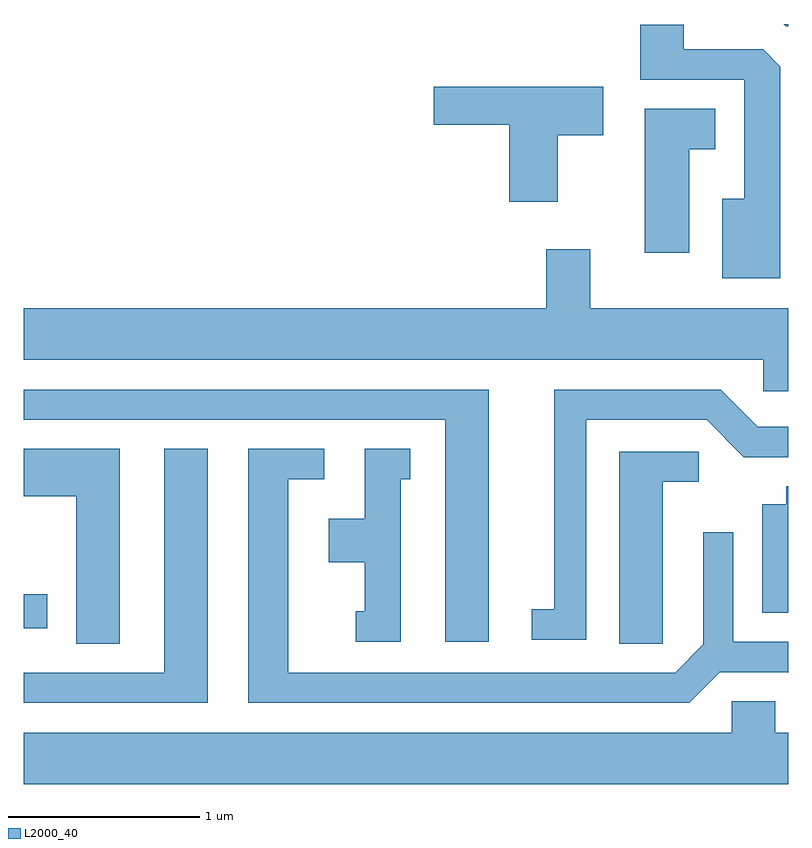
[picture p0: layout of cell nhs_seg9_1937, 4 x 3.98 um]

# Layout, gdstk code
import gdstk
lib = gdstk.Library(unit=1e-6, precision=1e-09)
def R(c, l, rs):  # rectangles x0, y0, x1, y1
    for r in rs: c.add(gdstk.rectangle(r[:2], r[2:], *l))
def P(c, l, *ps):  # polygons
    for p in ps: c.add(gdstk.Polygon(p, *l))
L2000_40 = (2000, 40)

nhs_seg9_1937 = lib.new_cell('nhs_seg9_1937')
R(nhs_seg9_1937, L2000_40, [(241.611,2019.271,241.734,2019.449)])
P(nhs_seg9_1937, L2000_40, [(245.611,2022.432),(245.586,2022.432),(245.597,2022.421),(245.611,2022.421)],
  [(245.569,2022.209),(245.479,2022.299),(245.064,2022.299),(245.064,2022.429),(244.836,2022.429),(244.836,2022.141),(245.381,2022.141),(245.381,2021.519),(245.266,2021.519),(245.266,2021.101),(245.569,2021.101)],
  [(244.404,2021.851),(244.644,2021.851),(244.644,2022.104),(243.756,2022.104),(243.756,2021.906),(244.151,2021.906),(244.151,2021.501),(244.404,2021.501)],
  [(245.094,2021.776),(245.229,2021.776),(245.229,2021.989),(244.861,2021.989),(244.861,2021.236),(245.094,2021.236)],
  [(245.611,2020.944),(244.574,2020.944),(244.574,2021.254),(244.346,2021.254),(244.346,2020.944),(241.611,2020.944),(241.611,2020.676),(245.481,2020.676),(245.481,2020.511),(245.611,2020.511)],
  [(244.044,2020.519),(241.611,2020.519),(241.611,2020.361),(243.816,2020.361),(243.816,2019.201),(244.044,2019.201)],
  [(244.554,2020.361),(245.184,2020.361),(245.379,2020.166),(245.611,2020.166),(245.611,2020.324),(245.452,2020.324),(245.257,2020.519),(244.386,2020.519),(244.386,2019.369),(244.268,2019.369),(244.268,2019.211),(244.554,2019.211)],
  [(242.574,2020.209),(242.346,2020.209),(242.346,2019.039),(241.611,2019.039),(241.611,2018.881),(242.574,2018.881)],
  [(242.114,2020.209),(241.611,2020.209),(241.611,2019.961),(241.886,2019.961),(241.886,2019.191),(242.114,2019.191)],
  [(245.252,2019.041),(245.609,2019.041),(245.611,2019.039),(245.611,2019.199),(245.324,2019.199),(245.324,2019.773),(245.166,2019.773),(245.166,2019.187),(245.019,2019.039),(242.994,2019.039),(242.994,2020.051),(243.183,2020.051),(243.183,2020.209),(242.786,2020.209),(242.786,2018.881),(245.092,2018.881)],
  [(243.584,2020.051),(243.633,2020.051),(243.633,2020.209),(243.396,2020.209),(243.396,2019.844),(243.206,2019.844),(243.206,2019.616),(243.396,2019.616),(243.396,2019.359),(243.348,2019.359),(243.348,2019.201),(243.584,2019.201)],
  [(244.954,2020.036),(245.143,2020.036),(245.143,2020.194),(244.726,2020.194),(244.726,2019.191),(244.954,2019.191)],
  [(245.611,2020.014),(245.601,2020.014),(245.601,2019.919),(245.476,2019.919),(245.476,2019.351),(245.611,2019.351)],
  [(245.611,2018.724),(245.544,2018.724),(245.544,2018.889),(245.316,2018.889),(245.316,2018.724),(241.611,2018.724),(241.611,2018.456),(245.611,2018.456)])

lib.write_gds('nhs_seg9_1937.gds')
